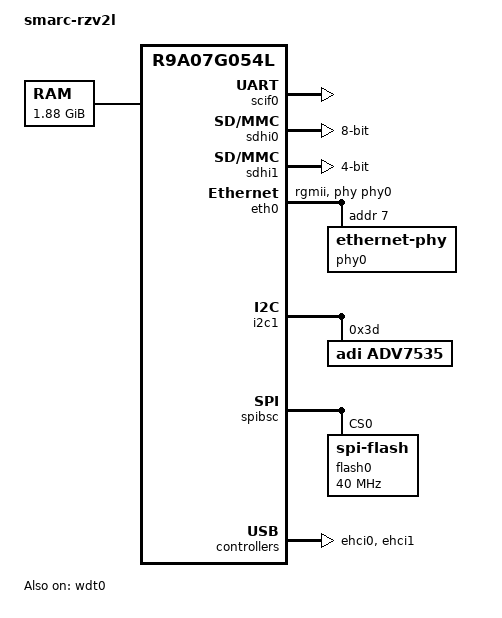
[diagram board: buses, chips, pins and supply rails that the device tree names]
// SPDX-License-Identifier: GPL-2.0
/*
 * Device Tree Source for the GR-Peach board
 *
 * Copyright (C) 2017 Jacopo Mondi <jacopo+renesas@jmondi.org>
 * Copyright (C) 2016 Renesas Electronics
 */

/dts-v1/;
#include <dt-bindings/gpio/gpio.h>
#include "r9a07g054l.dtsi"
#include "r9a07g054l-u-boot.dtsi"
#include <dt-bindings/pinctrl/rzv2l-pinctrl.h>

/ {
	model = "smarc-rzv2l";
	compatible = "renesas,r9a07g054l", "renesas,rzv2l";

	aliases {
		serial0 = &scif0;
		spi0 = &spibsc;
	};

	chosen {
		stdout-path = "serial0:115200n8";
	};

	memory@48000000 {
		device_type = "memory";
		/* first 128MB is reserved for secure area. */
		reg = <0 0x48000000 0 0x78000000>;
	};

};

&pinctrl {
	eth0_pins: eth0 {
		pinmux = <RZV2L_PINMUX(20, 0, 1)>,
				<RZV2L_PINMUX(20, 1, 1)>,
				<RZV2L_PINMUX(20, 2, 1)>,
				<RZV2L_PINMUX(21, 0, 1)>,
				<RZV2L_PINMUX(21, 1, 1)>,
				<RZV2L_PINMUX(22, 0, 1)>,
				<RZV2L_PINMUX(22, 1, 1)>,
				<RZV2L_PINMUX(23, 0, 1)>,
				<RZV2L_PINMUX(23, 1, 1)>,
				<RZV2L_PINMUX(24, 0, 1)>,
				<RZV2L_PINMUX(24, 1, 1)>,
				<RZV2L_PINMUX(25, 0, 1)>,
				<RZV2L_PINMUX(25, 1, 1)>,
				<RZV2L_PINMUX(26, 0, 1)>,
				<RZV2L_PINMUX(26, 1, 1)>,
				<RZV2L_PINMUX(27, 0, 1)>,
				<RZV2L_PINMUX(27, 1, 1)>,
				<RZV2L_PINMUX(28, 0, 1)>,
				<RZV2L_PINMUX(28, 1, 1)>;
	};
};

&xinclk {
        clock-frequency = <24000000>;
};

&scif0 {
	status = "okay";
	clock = <100000000>;
};

&sdhi0 {
	/* pinctrl placeholder
	 * If this channel is used for interfacing with a SD card, a power enable
	 * pin (SD0_PWR_EN) must be defined.
	 * The SD0_PWR_EN pin is associated with P4_1.
	 * A HIGH signal on SD0_PWR_EN will enable supply voltage for SD card.
	*/
	bus-width = <8>;
	status = "okay";
	/* This is used for interface that support both eMMC and SD in board */
	mutual-channel;
};

&sdhi1 {
	/* pinctrl placeholder
	 * A power enable pin (SD1_PWR_EN) must be defined to interface with a
	 * SD card.
	 * The SD1_PWR_EN pin is associated with P39_2.
	 * A HIGH signal on SD1_PWR_EN will enable supply voltage for SD card.
	*/
	bus-width = <4>;
	status = "okay";
};

&eth0 {
	pinctrl-names = "default";
	pinctrl-0 = <&eth0_pins>;
	phy-handle = <&phy0>;
	phy-mode = "rgmii";
	status = "okay";

	phy0: ethernet-phy@7 {
		reg = <7>;
	};
};

&i2c1 {
	pinctrl-names = "default";
	status = "okay";

	adv7535: hdmi@3d {
		compatible = "adi,adv7535";
		reg = <0x3d>;
	};
};

&spibsc {
        num-cs = <1>;
        status = "okay";
        spi-max-frequency = <40000000>;
        #address-cells = <1>;
        #size-cells = <0>;
        flash0: spi-flash@0 {
                #address-cells = <1>;
                #size-cells = <1>;
                compatible = "spi-flash", "jedec,spi-nor";
                spi-max-frequency = <40000000>;
                spi-tx-bus-width = <1>;
                spi-rx-bus-width = <1>;
                reg = <0>;
                status = "okay";
        };
};

&ehci0 {
	status = "okay";
};

&ehci1 {
	status = "okay";
};

&wdt0 {
	status = "okay";
	timeout-sec = <60>;
};
